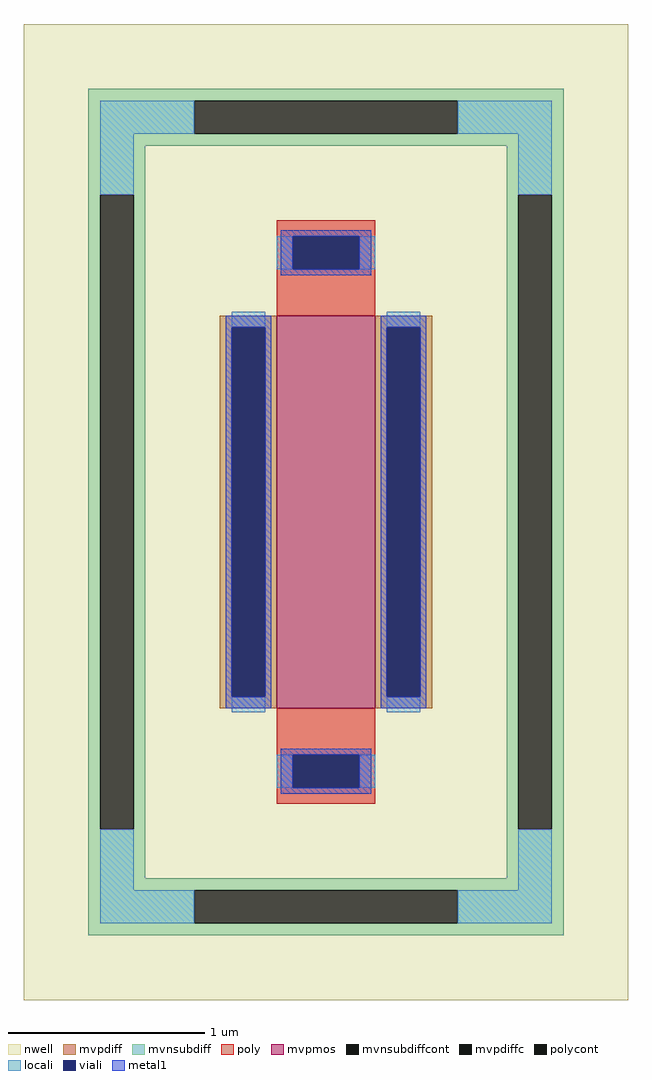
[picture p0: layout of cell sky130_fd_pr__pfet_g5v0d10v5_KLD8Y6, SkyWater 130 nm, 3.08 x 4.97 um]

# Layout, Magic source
magic
tech sky130A
magscale 1 2
<< nwell >>
rect -308 -497 308 497
<< mvpmos >>
rect -50 -200 50 200
<< mvpdiff >>
rect -108 188 -50 200
rect -108 -188 -96 188
rect -62 -188 -50 188
rect -108 -200 -50 -188
rect 50 188 108 200
rect 50 -188 62 188
rect 96 -188 108 188
rect 50 -200 108 -188
<< mvpdiffc >>
rect -96 -188 -62 188
rect 62 -188 96 188
<< mvnsubdiff >>
rect -242 419 242 431
rect -242 385 -134 419
rect 134 385 242 419
rect -242 373 242 385
rect -242 323 -184 373
rect -242 -323 -230 323
rect -196 -323 -184 323
rect 184 323 242 373
rect -242 -373 -184 -323
rect 184 -323 196 323
rect 230 -323 242 323
rect 184 -373 242 -323
rect -242 -385 242 -373
rect -242 -419 -134 -385
rect 134 -419 242 -385
rect -242 -431 242 -419
<< mvnsubdiffcont >>
rect -134 385 134 419
rect -230 -323 -196 323
rect 196 -323 230 323
rect -134 -419 134 -385
<< poly >>
rect -50 281 50 297
rect -50 247 -34 281
rect 34 247 50 281
rect -50 200 50 247
rect -50 -247 50 -200
rect -50 -281 -34 -247
rect 34 -281 50 -247
rect -50 -297 50 -281
<< polycont >>
rect -34 247 34 281
rect -34 -281 34 -247
<< locali >>
rect -230 385 -134 419
rect 134 385 230 419
rect -230 323 -196 385
rect 196 323 230 385
rect -50 247 -34 281
rect 34 247 50 281
rect -96 188 -62 204
rect -96 -204 -62 -188
rect 62 188 96 204
rect 62 -204 96 -188
rect -50 -281 -34 -247
rect 34 -281 50 -247
rect -230 -385 -196 -323
rect 196 -385 230 -323
rect -230 -419 -134 -385
rect 134 -419 230 -385
<< viali >>
rect -34 247 34 281
rect -96 -188 -62 188
rect 62 -188 96 188
rect -34 -281 34 -247
<< metal1 >>
rect -46 281 46 287
rect -46 247 -34 281
rect 34 247 46 281
rect -46 241 46 247
rect -102 188 -56 200
rect -102 -188 -96 188
rect -62 -188 -56 188
rect -102 -200 -56 -188
rect 56 188 102 200
rect 56 -188 62 188
rect 96 -188 102 188
rect 56 -200 102 -188
rect -46 -247 46 -241
rect -46 -281 -34 -247
rect 34 -281 46 -247
rect -46 -287 46 -281
<< properties >>
string FIXED_BBOX -213 -402 213 402
string gencell sky130_fd_pr__pfet_g5v0d10v5
string library sky130
string parameters w 2.0 l 0.5 m 1 nf 1 diffcov 100 polycov 100 guard 1 glc 1 grc 1 gtc 1 gbc 1 tbcov 100 rlcov 100 topc 1 botc 1 poverlap 0 doverlap 1 lmin 0.50 wmin 0.42 compatible {sky130_fd_pr__pfet_01v8  sky130_fd_pr__pfet_01v8_lvt sky130_fd_pr__pfet_01v8_hvt  sky130_fd_pr__pfet_g5v0d10v5} full_metal 1 viasrc 100 viadrn 100 viagate 100 viagb 0 viagr 0 viagl 0 viagt 0
<< end >>
